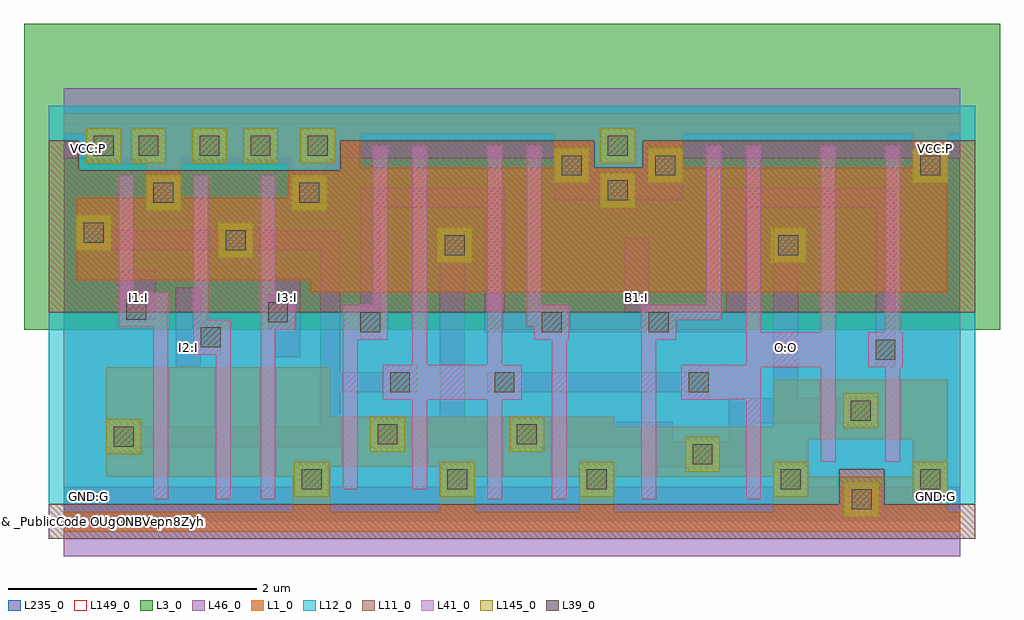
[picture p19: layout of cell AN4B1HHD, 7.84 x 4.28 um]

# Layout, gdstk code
from math import pi, radians
import gdstk
lib = gdstk.Library(unit=1e-6, precision=1e-09)
def R(c, l, rs):  # rectangles x0, y0, x1, y1
    for r in rs: c.add(gdstk.rectangle(r[:2], r[2:], *l))
def P(c, l, *ps):  # polygons
    for p in ps: c.add(gdstk.Polygon(p, *l))
L1_0 = (1, 0)
L3_0 = (3, 0)
L11_0 = (11, 0)
L12_0 = (12, 0)
L39_0 = (39, 0)
L41_0 = (41, 0)
L46_0 = (46, 0)
L145_0 = (145, 0)
L149_0 = (149, 0)
L235_0 = (235, 0)

c_mc = lib.new_cell('MC')
R(c_mc, L39_0, [(-0.08,-0.08,0.08,0.08)])
R(c_mc, L46_0, [(-0.08,-0.14,0.08,0.14)])
R(c_mc, L145_0, [(-0.14,-0.14,0.14,0.14)])

c_pc = lib.new_cell('PC')
R(c_pc, L39_0, [(-0.08,-0.08,0.08,0.08)])
R(c_pc, L41_0, [(-0.14,-0.14,0.14,0.14)])
R(c_pc, L46_0, [(-0.08,-0.14,0.08,0.14)])

phlenmdjegf__41gum4xw0 = lib.new_cell('PHLENMDJEGF$$41Gum4XW0')
R(phlenmdjegf__41gum4xw0, L1_0, [(0,-0.08,7.2,0.08), (5.98,0.08,6.82,0.36), (0.34,0.36,1.84,1.24), (0.1,1.94,0.66,2.6), (0,3.12,7.2,3.28)])
P(phlenmdjegf__41gum4xw0, L1_0, [(5.98,0.76),(4.42,0.76),(4.42,0.36),(5.7,0.36),(5.7,0.08),(5.98,0.08)],
  [(7.1,1.14),(5.7,1.14),(5.7,0.08),(5.98,0.08),(5.98,0.66),(6.82,0.66),(6.82,0.08),(7.1,0.08)],
  [(7.1,3.12),(6.82,3.12),(6.82,2.84),(4.97,2.84),(4.97,3.12),(4.42,3.12),(4.42,1.84),(7.1,1.84)],
  [(4.42,0.84),(3.02,0.84),(3.02,0.08),(3.3,0.08),(3.3,0.36),(4.14,0.36),(4.14,0.08),(4.42,0.08)],
  [(2.94,2.84),(3.94,2.84),(3.94,3.12),(4.42,3.12),(4.42,1.84),(2.94,1.84)],
  [(3.3,0.84),(2.14,0.84),(2.14,1.24),(1.84,1.24),(1.84,0.08),(2.14,0.08),(2.14,0.44),(3.02,0.44),(3.02,0.08),(3.3,0.08)],
  [(3.22,2.84),(2.38,2.84),(2.38,3.12),(1.8,3.12),(1.8,2.6),(0.94,2.6),(0.94,2.88),(1.8,2.88),(1.8,3.12),(0.18,3.12),(0.18,2.88),(0.66,2.88),(0.66,1.94),(1.98,1.94),(1.98,1.84),(3.22,1.84)])
R(phlenmdjegf__41gum4xw0, L3_0, [(-0.32,1.54,7.52,4)])
R(phlenmdjegf__41gum4xw0, L11_0, [(-0.12,-0.14,7.32,0.14), (-0.12,-0.14,7.32,0.14), (6.23,0.14,6.59,0.42)])
P(phlenmdjegf__41gum4xw0, L11_0, [(7.32,3.06),(4.65,3.06),(4.65,2.84),(4.26,2.84),(4.26,3.06),(2.22,3.06),(2.22,2.82),(0.12,2.82),(0.12,3.06),(-0.12,3.06),(-0.12,1.68),(7.32,1.68)])
P(phlenmdjegf__41gum4xw0, L12_0, [(7.32,3.34),(-0.12,3.34),(-0.12,3.06),(0.12,3.06),(0.12,2.82),(2.22,2.82),(2.22,3.06),(4.26,3.06),(4.26,2.84),(4.65,2.84),(4.65,3.06),(7.32,3.06)],
  [(7.32,1.68),(-0.12,1.68),(-0.12,0.14),(6.23,0.14),(6.23,0.42),(6.59,0.42),(6.59,0.14),(7.32,0.14)])
R(phlenmdjegf__41gum4xw0, L41_0, [(2.56,0.98,2.92,1.26), (2.8,0.98,3.52,1.26), (4.96,0.98,5.6,1.26), (5.48,1.24,6.2,1.52)])
R(phlenmdjegf__41gum4xw0, L46_0, [(2.56,1.2,2.84,1.26), (0.44,1.62,0.74,2.02), (0.66,2.56,0.94,2.92), (1.83,2.56,2.11,2.92), (3.94,2.58,4.97,2.92)])
R(phlenmdjegf__41gum4xw0, L149_0, [(0,0,7.2,3.2)])
R(phlenmdjegf__41gum4xw0, L235_0, [(0,0,7.2,3.2), (0,0,7.2,3.2), (0,0,7.2,3.2), (0,0,7.2,3.2), (0,0,7.2,3.2), (0,0,7.2,3.2), (0,0,7.2,3.2), (0,0,7.2,3.2), (0,0,7.2,3.2), (0,0,7.2,3.2), (0,0,7.2,3.2), (0,0,7.2,3.2)])
phlenmdjegf__41gum4xw0.add(gdstk.FlexPath([(0,0),(7.2,0)], 0.56, ends="flush", simple_path=True, layer=46, datatype=0))  # L46_0
phlenmdjegf__41gum4xw0.add(gdstk.FlexPath([(0,3.2),(7.2,3.2)], 0.56, ends="flush", simple_path=True, layer=46, datatype=0))  # L46_0
phlenmdjegf__41gum4xw0.add(gdstk.FlexPath([(3.4,1.12),(5.18,1.12)], 0.16, ends="flush", simple_path=True, layer=46, datatype=0))  # L46_0
phlenmdjegf__41gum4xw0.add(gdstk.FlexPath([(4.64,1.6),(5.4,1.6),(5.4,2.6),(6.6,2.6),(6.6,1.24)], 0.16, ends="flush", simple_path=True, layer=46, datatype=0))  # L46_0
phlenmdjegf__41gum4xw0.add(gdstk.FlexPath([(5.8,0.89),(6.54,0.89)], 0.2, ends="flush", simple_path=True, layer=46, datatype=0))  # L46_0
phlenmdjegf__41gum4xw0.add(gdstk.FlexPath([(5.8,2.36),(5.8,0.89),(5.44,0.89),(5.44,0.54),(4.79,0.54),(4.79,0.7),(3.58,0.7)], 0.2, ends="flush", simple_path=True, layer=46, datatype=0))  # L46_0
phlenmdjegf__41gum4xw0.add(gdstk.FlexPath([(3.12,0.7),(3.86,0.7)], 0.2, ends="flush", simple_path=True, layer=46, datatype=0))  # L46_0
phlenmdjegf__41gum4xw0.add(gdstk.FlexPath([(2.46,1.46),(2.46,2.6),(3.46,2.6),(3.46,1.6),(4.06,1.6)], 0.16, ends="flush", simple_path=True, layer=46, datatype=0))  # L46_0
phlenmdjegf__41gum4xw0.add(gdstk.FlexPath([(4.6,1.64),(4.6,2.28)], 0.2, ends="flush", simple_path=True, layer=46, datatype=0))  # L46_0
phlenmdjegf__41gum4xw0.add(gdstk.FlexPath([(2.06,1.12),(2.84,1.12)], 0.16, ends="flush", simple_path=True, layer=46, datatype=0))  # L46_0
phlenmdjegf__41gum4xw0.add(gdstk.FlexPath([(3.84,1.6),(4.94,1.6)], 0.16, ends="flush", simple_path=True, layer=46, datatype=0))  # L46_0
phlenmdjegf__41gum4xw0.add(gdstk.FlexPath([(1.8,1.32),(1.8,1.96)], 0.2, ends="flush", simple_path=True, layer=46, datatype=0))  # L46_0
phlenmdjegf__41gum4xw0.add(gdstk.FlexPath([(1,1.24),(1,1.88)], 0.2, ends="flush", simple_path=True, layer=46, datatype=0))  # L46_0
phlenmdjegf__41gum4xw0.add(gdstk.FlexPath([(0.6,1.64),(0.6,2.02)], 0.2, ends="flush", simple_path=True, layer=46, datatype=0))  # L46_0
phlenmdjegf__41gum4xw0.add(gdstk.FlexPath([(3.12,2.36),(3.12,0.7),(2.46,0.7)], 0.2, ends="flush", simple_path=True, layer=46, datatype=0))  # L46_0
phlenmdjegf__41gum4xw0.add(gdstk.FlexPath([(0.1,2.26),(2.14,2.26),(2.14,0.68),(0.34,0.68)], 0.16, ends="flush", simple_path=True, layer=46, datatype=0))  # L46_0
phlenmdjegf__41gum4xw0.add(gdstk.FlexPath([(1,0),(1,3.2)], 0, ends="flush", simple_path=True, layer=145, datatype=0))  # L145_0
phlenmdjegf__41gum4xw0.add(gdstk.FlexPath([(0.2,0),(0.2,3.2)], 0, ends="flush", simple_path=True, layer=145, datatype=0))  # L145_0
phlenmdjegf__41gum4xw0.add(gdstk.FlexPath([(0.6,0),(0.6,3.2)], 0, ends="flush", simple_path=True, layer=145, datatype=0))  # L145_0
phlenmdjegf__41gum4xw0.add(gdstk.FlexPath([(1.4,0),(1.4,3.2)], 0, ends="flush", simple_path=True, layer=145, datatype=0))  # L145_0
phlenmdjegf__41gum4xw0.add(gdstk.FlexPath([(1.8,0),(1.8,3.2)], 0, ends="flush", simple_path=True, layer=145, datatype=0))  # L145_0
phlenmdjegf__41gum4xw0.add(gdstk.FlexPath([(2.2,0),(2.2,3.2)], 0, ends="flush", simple_path=True, layer=145, datatype=0))  # L145_0
phlenmdjegf__41gum4xw0.add(gdstk.FlexPath([(2.6,0),(2.6,3.2)], 0, ends="flush", simple_path=True, layer=145, datatype=0))  # L145_0
phlenmdjegf__41gum4xw0.add(gdstk.FlexPath([(0,3),(7.2,3)], 0, ends="flush", simple_path=True, layer=145, datatype=0))  # L145_0
phlenmdjegf__41gum4xw0.add(gdstk.FlexPath([(0,2.6),(7.2,2.6)], 0, ends="flush", simple_path=True, layer=145, datatype=0))  # L145_0
phlenmdjegf__41gum4xw0.add(gdstk.FlexPath([(0,2.2),(7.2,2.2)], 0, ends="flush", simple_path=True, layer=145, datatype=0))  # L145_0
phlenmdjegf__41gum4xw0.add(gdstk.FlexPath([(0,1.8),(7.2,1.8)], 0, ends="flush", simple_path=True, layer=145, datatype=0))  # L145_0
phlenmdjegf__41gum4xw0.add(gdstk.FlexPath([(0,1.4),(7.2,1.4)], 0, ends="flush", simple_path=True, layer=145, datatype=0))  # L145_0
phlenmdjegf__41gum4xw0.add(gdstk.FlexPath([(0,1),(7.2,1)], 0, ends="flush", simple_path=True, layer=145, datatype=0))  # L145_0
phlenmdjegf__41gum4xw0.add(gdstk.FlexPath([(3,0),(3,3.2)], 0, ends="flush", simple_path=True, layer=145, datatype=0))  # L145_0
phlenmdjegf__41gum4xw0.add(gdstk.FlexPath([(3.4,0),(3.4,3.2)], 0, ends="flush", simple_path=True, layer=145, datatype=0))  # L145_0
phlenmdjegf__41gum4xw0.add(gdstk.FlexPath([(3.8,0),(3.8,3.2)], 0, ends="flush", simple_path=True, layer=145, datatype=0))  # L145_0
phlenmdjegf__41gum4xw0.add(gdstk.FlexPath([(4.2,0),(4.2,3.2)], 0, ends="flush", simple_path=True, layer=145, datatype=0))  # L145_0
phlenmdjegf__41gum4xw0.add(gdstk.FlexPath([(4.6,0),(4.6,3.2)], 0, ends="flush", simple_path=True, layer=145, datatype=0))  # L145_0
phlenmdjegf__41gum4xw0.add(gdstk.FlexPath([(5,0),(5,3.2)], 0, ends="flush", simple_path=True, layer=145, datatype=0))  # L145_0
phlenmdjegf__41gum4xw0.add(gdstk.FlexPath([(5.4,0),(5.4,3.2)], 0, ends="flush", simple_path=True, layer=145, datatype=0))  # L145_0
phlenmdjegf__41gum4xw0.add(gdstk.FlexPath([(5.8,0),(5.8,3.2)], 0, ends="flush", simple_path=True, layer=145, datatype=0))  # L145_0
phlenmdjegf__41gum4xw0.add(gdstk.FlexPath([(6.2,0),(6.2,3.2)], 0, ends="flush", simple_path=True, layer=145, datatype=0))  # L145_0
phlenmdjegf__41gum4xw0.add(gdstk.FlexPath([(6.6,0),(6.6,3.2)], 0, ends="flush", simple_path=True, layer=145, datatype=0))  # L145_0
phlenmdjegf__41gum4xw0.add(gdstk.FlexPath([(7,0),(7,3.2)], 0, ends="flush", simple_path=True, layer=145, datatype=0))  # L145_0
phlenmdjegf__41gum4xw0.add(gdstk.FlexPath([(0,0.2),(7.2,0.2)], 0, ends="flush", simple_path=True, layer=145, datatype=0))  # L145_0
phlenmdjegf__41gum4xw0.add(gdstk.FlexPath([(0,0.6),(7.2,0.6)], 0, ends="flush", simple_path=True, layer=145, datatype=0))  # L145_0
phlenmdjegf__41gum4xw0.add(gdstk.FlexPath([(1.64,0.18),(1.64,2.78)], 0.12, ends="flush", simple_path=True, layer=41, datatype=0))  # L41_0
phlenmdjegf__41gum4xw0.add(gdstk.FlexPath([(5.22,3.02),(5.22,1.68),(4.7,1.68),(4.7,0.18)], 0.12, ends="flush", simple_path=True, layer=41, datatype=0))  # L41_0
phlenmdjegf__41gum4xw0.add(gdstk.FlexPath([(5.54,0.18),(5.54,3.02)], 0.12, ends="flush", simple_path=True, layer=41, datatype=0))  # L41_0
phlenmdjegf__41gum4xw0.add(gdstk.FlexPath([(1.1,2.78),(1.1,1.56),(1.28,1.56),(1.28,0.18)], 0.12, ends="flush", simple_path=True, layer=41, datatype=0))  # L41_0
phlenmdjegf__41gum4xw0.add(gdstk.FlexPath([(6.66,0.48),(6.66,3.02)], 0.12, ends="flush", simple_path=True, layer=41, datatype=0))  # L41_0
phlenmdjegf__41gum4xw0.add(gdstk.FlexPath([(0.5,2.78),(0.5,1.78),(0.78,1.78),(0.78,0.18)], 0.12, ends="flush", simple_path=True, layer=41, datatype=0))  # L41_0
phlenmdjegf__41gum4xw0.add(gdstk.FlexPath([(6.14,0.48),(6.14,3.02)], 0.12, ends="flush", simple_path=True, layer=41, datatype=0))  # L41_0
phlenmdjegf__41gum4xw0.add(gdstk.FlexPath([(3.46,0.18),(3.46,3.02)], 0.12, ends="flush", simple_path=True, layer=41, datatype=0))  # L41_0
phlenmdjegf__41gum4xw0.add(gdstk.FlexPath([(2.54,3.02),(2.54,1.68),(2.3,1.68),(2.3,0.26)], 0.12, ends="flush", simple_path=True, layer=41, datatype=0))  # L41_0
phlenmdjegf__41gum4xw0.add(gdstk.FlexPath([(2.86,0.26),(2.86,3.02)], 0.12, ends="flush", simple_path=True, layer=41, datatype=0))  # L41_0
phlenmdjegf__41gum4xw0.add(gdstk.FlexPath([(3.78,3.02),(3.78,1.63),(3.98,1.63),(3.98,0.18)], 0.12, ends="flush", simple_path=True, layer=41, datatype=0))  # L41_0
r = gdstk.Reference(c_mc, (3.14,2.22)); r.repetition = gdstk.Repetition(1, 1, v1=(0.28,0), v2=(0,0.32)); phlenmdjegf__41gum4xw0.add(r)
r = gdstk.Reference(c_mc, (1.58,3.02), rotation=pi/2); r.repetition = gdstk.Repetition(1, 1, v1=(0,0.28), v2=(-0.32,0)); phlenmdjegf__41gum4xw0.add(r)
r = gdstk.Reference(c_mc, (0.48,0.68), rotation=pi/2); r.repetition = gdstk.Repetition(1, 1, v1=(0,0.28), v2=(-0.32,0)); phlenmdjegf__41gum4xw0.add(r)
r = gdstk.Reference(c_mc, (2.6,0.7), rotation=pi/2); r.repetition = gdstk.Repetition(1, 1, v1=(0,0.28), v2=(-0.32,0)); phlenmdjegf__41gum4xw0.add(r)
r = gdstk.Reference(c_mc, (3.16,0.34), rotation=pi/2); r.repetition = gdstk.Repetition(1, 1, v1=(0,0.28), v2=(-0.32,0)); phlenmdjegf__41gum4xw0.add(r)
r = gdstk.Reference(c_mc, (1.99,0.34), rotation=pi/2); r.repetition = gdstk.Repetition(1, 1, v1=(0,0.28), v2=(-0.32,0)); phlenmdjegf__41gum4xw0.add(r)
r = gdstk.Reference(c_mc, (1.97,2.64), rotation=pi/2); r.repetition = gdstk.Repetition(1, 1, v1=(0,0.28), v2=(-0.32,0)); phlenmdjegf__41gum4xw0.add(r)
r = gdstk.Reference(c_mc, (0.24,2.32), rotation=pi/2); r.repetition = gdstk.Repetition(1, 1, v1=(0,0.28), v2=(-0.32,0)); phlenmdjegf__41gum4xw0.add(r)
r = gdstk.Reference(c_mc, (0.8,2.64), rotation=pi/2); r.repetition = gdstk.Repetition(1, 1, v1=(0,0.28), v2=(-0.32,0)); phlenmdjegf__41gum4xw0.add(r)
r = gdstk.Reference(c_mc, (0.32,3.02), rotation=pi/2); r.repetition = gdstk.Repetition(1, 1, v1=(0,0.28), v2=(-0.32,0)); phlenmdjegf__41gum4xw0.add(r)
r = gdstk.Reference(c_mc, (2.04,3.02), rotation=pi/2); r.repetition = gdstk.Repetition(1, 1, v1=(0,0.28), v2=(-0.32,0)); phlenmdjegf__41gum4xw0.add(r)
r = gdstk.Reference(c_mc, (1.17,3.02), rotation=pi/2); r.repetition = gdstk.Repetition(1, 1, v1=(0,0.28), v2=(-0.32,0)); phlenmdjegf__41gum4xw0.add(r)
r = gdstk.Reference(c_mc, (4.45,2.66), rotation=pi/2); r.repetition = gdstk.Repetition(1, 1, v1=(0,0.28), v2=(-0.32,0)); phlenmdjegf__41gum4xw0.add(r)
r = gdstk.Reference(c_mc, (3.72,0.7), rotation=pi/2, x_reflection=True); r.repetition = gdstk.Repetition(1, 1, v1=(0,0.28), v2=(0.32,0)); phlenmdjegf__41gum4xw0.add(r)
r = gdstk.Reference(c_mc, (0.68,3.02), rotation=pi/2); r.repetition = gdstk.Repetition(1, 1, v1=(0,0.28), v2=(-0.32,0)); phlenmdjegf__41gum4xw0.add(r)
r = gdstk.Reference(c_mc, (4.28,0.34), rotation=pi/2); r.repetition = gdstk.Repetition(1, 1, v1=(0,0.28), v2=(-0.32,0)); phlenmdjegf__41gum4xw0.add(r)
r = gdstk.Reference(c_mc, (6.96,2.86), rotation=pi/2); r.repetition = gdstk.Repetition(1, 1, v1=(0,0.28), v2=(-0.32,0)); phlenmdjegf__41gum4xw0.add(r)
r = gdstk.Reference(c_mc, (4.08,2.86), rotation=pi/2); r.repetition = gdstk.Repetition(1, 1, v1=(0,0.28), v2=(-0.32,0)); phlenmdjegf__41gum4xw0.add(r)
r = gdstk.Reference(c_mc, (5.82,2.22)); r.repetition = gdstk.Repetition(1, 1, v1=(0.28,0), v2=(0,0.32)); phlenmdjegf__41gum4xw0.add(r)
r = gdstk.Reference(c_mc, (6.4,0.89), rotation=pi/2, x_reflection=True); r.repetition = gdstk.Repetition(1, 1, v1=(0,0.28), v2=(0.32,0)); phlenmdjegf__41gum4xw0.add(r)
r = gdstk.Reference(c_mc, (5.13,0.54), rotation=pi/2); r.repetition = gdstk.Repetition(1, 1, v1=(0,0.28), v2=(-0.32,0)); phlenmdjegf__41gum4xw0.add(r)
r = gdstk.Reference(c_mc, (6.96,0.34), rotation=pi/2); r.repetition = gdstk.Repetition(1, 1, v1=(0,0.28), v2=(-0.32,0)); phlenmdjegf__41gum4xw0.add(r)
r = gdstk.Reference(c_mc, (6.41,0.18), rotation=pi/2, x_reflection=True); r.repetition = gdstk.Repetition(1, 1, v1=(0,0.28), v2=(0.32,0)); phlenmdjegf__41gum4xw0.add(r)
r = gdstk.Reference(c_mc, (5.84,0.34), rotation=pi/2); r.repetition = gdstk.Repetition(1, 1, v1=(0,0.28), v2=(-0.32,0)); phlenmdjegf__41gum4xw0.add(r)
r = gdstk.Reference(c_mc, (4.45,3.02), rotation=pi/2); r.repetition = gdstk.Repetition(1, 1, v1=(0,0.28), v2=(-0.32,0)); phlenmdjegf__41gum4xw0.add(r)
r = gdstk.Reference(c_mc, (4.83,2.86), rotation=pi/2); r.repetition = gdstk.Repetition(1, 1, v1=(0,0.28), v2=(-0.32,0)); phlenmdjegf__41gum4xw0.add(r)
r = gdstk.Reference(c_mc, (1.38,2.26), rotation=pi/2); r.repetition = gdstk.Repetition(1, 1, v1=(0,0.28), v2=(-0.32,0)); phlenmdjegf__41gum4xw0.add(r)
r = gdstk.Reference(c_pc, (2.7,1.12), rotation=pi/2); r.repetition = gdstk.Repetition(1, 1, v1=(0,0.28), v2=(-0.32,0)); phlenmdjegf__41gum4xw0.add(r)
r = gdstk.Reference(c_pc, (1.18,1.48)); r.repetition = gdstk.Repetition(1, 1, v1=(0.28,0), v2=(0,0.32)); phlenmdjegf__41gum4xw0.add(r)
r = gdstk.Reference(c_pc, (0.58,1.7), rotation=pi/2); r.repetition = gdstk.Repetition(1, 1, v1=(0,0.28), v2=(-0.32,0)); phlenmdjegf__41gum4xw0.add(r)
r = gdstk.Reference(c_pc, (2.46,1.6)); r.repetition = gdstk.Repetition(1, 1, v1=(0.28,0), v2=(0,0.32)); phlenmdjegf__41gum4xw0.add(r)
r = gdstk.Reference(c_pc, (3.92,1.6), rotation=pi/2); r.repetition = gdstk.Repetition(1, 1, v1=(0,0.28), v2=(-0.32,0)); phlenmdjegf__41gum4xw0.add(r)
r = gdstk.Reference(c_pc, (3.54,1.12), rotation=pi/2); r.repetition = gdstk.Repetition(1, 1, v1=(0,0.28), v2=(-0.32,0)); phlenmdjegf__41gum4xw0.add(r)
r = gdstk.Reference(c_pc, (6.6,1.38), rotation=pi, x_reflection=True); r.repetition = gdstk.Repetition(1, 1, v1=(-0.28,0), v2=(0,0.32)); phlenmdjegf__41gum4xw0.add(r)
r = gdstk.Reference(c_pc, (4.78,1.6), rotation=pi/2); r.repetition = gdstk.Repetition(1, 1, v1=(0,0.28), v2=(-0.32,0)); phlenmdjegf__41gum4xw0.add(r)
r = gdstk.Reference(c_pc, (5.1,1.12)); r.repetition = gdstk.Repetition(1, 1, v1=(0.28,0), v2=(0,0.32)); phlenmdjegf__41gum4xw0.add(r)
r = gdstk.Reference(c_pc, (1.72,1.68)); r.repetition = gdstk.Repetition(1, 1, v1=(0.28,0), v2=(0,0.32)); phlenmdjegf__41gum4xw0.add(r)
phlenmdjegf__41gum4xw0.add(gdstk.Label('#Id:7JQJaQKD4XF6RXVV5bbXNLABMd9CZLGaK99JL0306AKC574O4A3EOSP8MXXWHY99T6WBH22210RAL9', (0.02,0.02), layer=147, texttype=0))
phlenmdjegf__41gum4xw0.add(gdstk.Label('AN4B1HHD', (0,0), layer=144, texttype=0))
phlenmdjegf__41gum4xw0.add(gdstk.Label('VCC:P', (0.2,3), layer=101, texttype=0))
phlenmdjegf__41gum4xw0.add(gdstk.Label('VCC:P', (7,3), layer=101, texttype=0))
phlenmdjegf__41gum4xw0.add(gdstk.Label('GND:G', (0.2,0.2), layer=101, texttype=0))
phlenmdjegf__41gum4xw0.add(gdstk.Label('GND:G', (7,0.2), layer=101, texttype=0))
phlenmdjegf__41gum4xw0.add(gdstk.Label('B1:I', (4.6,1.8), layer=101, texttype=0))
phlenmdjegf__41gum4xw0.add(gdstk.Label('I1:I', (0.6,1.8), layer=101, texttype=0))
phlenmdjegf__41gum4xw0.add(gdstk.Label('O:O', (5.8,1.4), layer=101, texttype=0))
phlenmdjegf__41gum4xw0.add(gdstk.Label('I3:I', (1.8,1.8), layer=101, texttype=0))
phlenmdjegf__41gum4xw0.add(gdstk.Label('I2:I', (1,1.4), layer=101, texttype=0))

an4b1hhd = lib.new_cell('AN4B1HHD')
R(an4b1hhd, L149_0, [(0,0,7.2,3.2)])
an4b1hhd.add(gdstk.Reference(phlenmdjegf__41gum4xw0, (0,0)))
an4b1hhd.add(gdstk.Label('& _PublicCode OUgONBVepn8Zyhuhb7nzKSFGv0ozQ4p7', (0,0), layer=3, texttype=0))
an4b1hhd.add(gdstk.Label('& Metric 23.04', (0,0), layer=3, texttype=0))
an4b1hhd.add(gdstk.Label('& Version 2009Q1V3.0', (0,0), layer=3, texttype=0))
an4b1hhd.add(gdstk.Label('& Product FSC0H_D_GENERIC_CORE', (0,0), layer=3, texttype=0))
an4b1hhd.add(gdstk.Label('& Vendor Faraday_Technology_Corp.', (0,0), layer=3, texttype=0))
an4b1hhd.add(gdstk.Label('#Id:7JQJaQKD4XF6RXVV5bbXNLABMd9CZLGaK99JL0306AKC574O4A3EOSP8MXXWHY99T6WBH22210RAL9', (0.02,0.02), layer=147, texttype=0))
an4b1hhd.add(gdstk.Label('AN4B1HHD', (0,0), layer=144, texttype=0))
an4b1hhd.add(gdstk.Label('VCC:P', (0.2,3), layer=101, texttype=0))
an4b1hhd.add(gdstk.Label('VCC:P', (7,3), layer=101, texttype=0))
an4b1hhd.add(gdstk.Label('GND:G', (0.2,0.2), layer=101, texttype=0))
an4b1hhd.add(gdstk.Label('GND:G', (7,0.2), layer=101, texttype=0))
an4b1hhd.add(gdstk.Label('B1:I', (4.6,1.8), layer=101, texttype=0))
an4b1hhd.add(gdstk.Label('I1:I', (0.6,1.8), layer=101, texttype=0))
an4b1hhd.add(gdstk.Label('O:O', (5.8,1.4), layer=101, texttype=0))
an4b1hhd.add(gdstk.Label('I3:I', (1.8,1.8), layer=101, texttype=0))
an4b1hhd.add(gdstk.Label('I2:I', (1,1.4), layer=101, texttype=0))

lib.write_gds('AN4B1HHD.gds')
